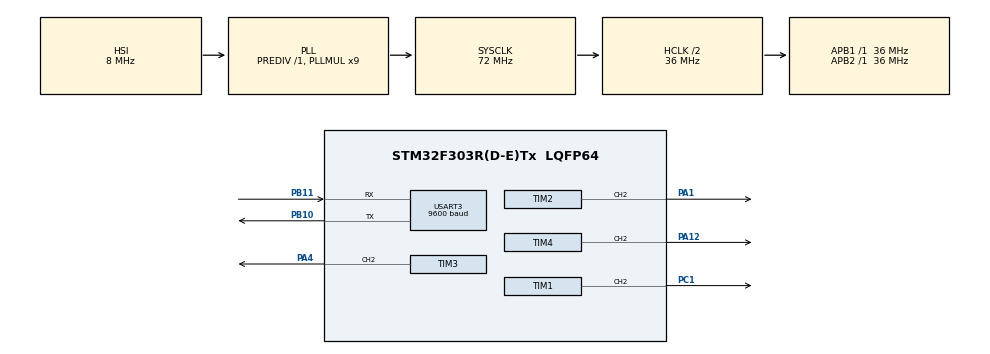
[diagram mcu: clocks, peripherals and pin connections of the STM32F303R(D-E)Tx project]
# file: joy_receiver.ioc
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Mcu.Family=STM32F3
Mcu.Name=STM32F303R(D-E)Tx
Mcu.Package=LQFP64
NVIC.PriorityGroup=NVIC_PRIORITYGROUP_4
NVIC.USART3_IRQn=true\:0\:0\:false\:false\:true\:true\:true
PA1.Signal=S_TIM2_CH2
PA12.Signal=S_TIM4_CH2
PA4.Signal=S_TIM3_CH2
PB10.Mode=Asynchronous
PB10.Signal=USART3_TX
PB11.Mode=Asynchronous
PB11.Signal=USART3_RX
PC1.Signal=S_TIM1_CH2
ProjectManager.HeapSize=0x200
ProjectManager.StackSize=0x400
ProjectManager.TargetToolchain=STM32CubeIDE
RCC.AHBCLKDivider=RCC_SYSCLK_DIV2
RCC.AHBFreq_Value=36000000
RCC.APB1Freq_Value=36000000
RCC.APB1TimFreq_Value=36000000
RCC.APB2Freq_Value=36000000
RCC.APB2TimFreq_Value=36000000
RCC.CortexFreq_Value=36000000
RCC.HCLKFreq_Value=36000000
RCC.HSE_VALUE=8000000
RCC.HSI_VALUE=8000000
RCC.LSE_VALUE=32768
RCC.PLLMUL=RCC_PLL_MUL9
RCC.SYSCLKFreq_VALUE=72000000
RCC.SYSCLKSourceVirtual=RCC_SYSCLKSOURCE_PLLCLK
RCC.USBFreq_Value=72000000
SH.S_TIM1_CH2.0=TIM1_CH2,PWM Generation2 CH2
SH.S_TIM2_CH2.0=TIM2_CH2,PWM Generation2 CH2
SH.S_TIM3_CH2.0=TIM3_CH2,PWM Generation2 CH2
SH.S_TIM4_CH2.0=TIM4_CH2,PWM Generation2 CH2
TIM1.Channel-PWM\ Generation2\ CH2=TIM_CHANNEL_2
TIM1.Period=19999
TIM1.Prescaler=35
TIM2.Channel-PWM\ Generation2\ CH2=TIM_CHANNEL_2
TIM2.Period=19999
TIM2.Prescaler=35
TIM3.Channel-PWM\ Generation2\ CH2=TIM_CHANNEL_2
TIM3.Period=19999
TIM3.Prescaler=35
TIM4.Channel-PWM\ Generation2\ CH2=TIM_CHANNEL_2
TIM4.Period=19999
TIM4.Prescaler=35
USART3.BaudRate=9600
USART3.VirtualMode-Asynchronous=VM_ASYNC
board=custom

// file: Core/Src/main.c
/* USER CODE BEGIN Header */
/**
  ******************************************************************************
  * @file           : main.c
  * @brief          : Main program body
  ******************************************************************************
  * @attention
  *
  * <h2><center>&copy; Copyright (c) 2022 STMicroelectronics.
  * All rights reserved.</center></h2>
  *
  * This software component is licensed by ST under BSD 3-Clause license,
  * the "License"; You may not use this file except in compliance with the
  * License. You may obtain a copy of the License at:
  *                        opensource.org/licenses/BSD-3-Clause
  *
  ******************************************************************************
  */
/* USER CODE END Header */
#include "main.h"

/* USER CODE BEGIN Includes */
#include "stdlib.h"
/* USER CODE END Includes */

/* USER CODE BEGIN PD */
#define ARRAY_LEN 4
#define PWM_LEN ARRAY_LEN*4
/* USER CODE END PD */

TIM_HandleTypeDef htim1;
TIM_HandleTypeDef htim2;
TIM_HandleTypeDef htim3;
TIM_HandleTypeDef htim4;

UART_HandleTypeDef huart3;

/* USER CODE BEGIN PV */
uint8_t incoming_byte[1];
char pwm_string[ARRAY_LEN*4];
uint8_t direction_array[ARRAY_LEN];
uint8_t pwm_array[ARRAY_LEN];
/* USER CODE END PV */

void SystemClock_Config(void);
static void MX_GPIO_Init(void);
static void MX_USART3_UART_Init(void);
static void MX_TIM2_Init(void);
static void MX_TIM1_Init(void);
static void MX_TIM3_Init(void);
static void MX_TIM4_Init(void);

/* USER CODE BEGIN 0 */

void readString(void){
	static int receive_counter=0;
	static int receive_flag=0;
	if(incoming_byte[0]=='S'){
		receive_flag=1;
	}
	if(receive_flag && incoming_byte[0]!='S' && incoming_byte[0]!='F'){
		pwm_string[receive_counter]=incoming_byte[0];
		receive_counter++;
	}
	if(incoming_byte[0]=='F'){
		receive_flag=0;
		receive_counter=0;
	}
}

void getDirection(void){
	for(int i=0;i<ARRAY_LEN;i++){
		direction_array[i]=pwm_string[4*i];
	}
}

void getPWM(void){
	char str_buffer[3];
	for(int i=0;i<ARRAY_LEN;i++){
		for(int j=0;j<3;j++){
			str_buffer[j]=pwm_string[(4*j)+1];
		}
		pwm_array[i]=atoi(str_buffer);
	}
}

void HAL_UART_RxCpltCallback(UART_HandleTypeDef *huart){
	if(huart->Instance==USART3){
		HAL_UART_Receive_IT(&huart3, (uint8_t*)incoming_byte, 1);
		readString();
	}
}

TIM_HandleTypeDef returnTimer(uint8_t timerNumber){
	TIM_HandleTypeDef myTimer;
	if(timerNumber==1){
		myTimer=htim1;
	}
	if(timerNumber==2){
			myTimer=htim2;
	}
	if(timerNumber==3){
		myTimer=htim3;
	}
	if(timerNumber==4){
		myTimer=htim4;
	}
	return myTimer;
}

void runMotor(TIM_HandleTypeDef myTimer, uint8_t direction, uint8_t pwmPulse){
	if(direction==0){
		__HAL_TIM_SET_COMPARE(&myTimer, TIM_CHANNEL_2, (1500-(500*pwmPulse/255)));
	}
	if(direction==1){
		__HAL_TIM_SET_COMPARE(&myTimer, TIM_CHANNEL_2, (1500+(500*pwmPulse/255)));
	}
}

/* USER CODE END 0 */

int main(void)
{

  /* MCU Configuration--------------------------------------------------------*/

  /* Reset of all peripherals, Initializes the Flash interface and the Systick. */
  HAL_Init();

  /* Configure the system clock */
  SystemClock_Config();

  /* Initialize all configured peripherals */
  MX_GPIO_Init();
  MX_USART3_UART_Init();
  MX_TIM2_Init();
  MX_TIM1_Init();
  MX_TIM3_Init();
  MX_TIM4_Init();
  /* USER CODE BEGIN 2 */
  HAL_UART_Receive_IT(&huart3, (uint8_t*)incoming_byte, 1);

  HAL_TIM_PWM_Start(&htim1, TIM_CHANNEL_2);
  HAL_TIM_PWM_Start(&htim2, TIM_CHANNEL_2);
  HAL_TIM_PWM_Start(&htim3, TIM_CHANNEL_2);
  HAL_TIM_PWM_Start(&htim4, TIM_CHANNEL_2);

  /* USER CODE END 2 */

  /* Infinite loop */
  while (1)
  {

    /* USER CODE BEGIN 3 */
	getDirection();
	getPWM();

	for(int i=0;i<ARRAY_LEN;i++){
		runMotor(returnTimer(i+1), direction_array[i], pwm_array[i]);
	}

  	}
  /* USER CODE END 3 */
}

void SystemClock_Config(void)
{
  RCC_OscInitTypeDef RCC_OscInitStruct = {0};
  RCC_ClkInitTypeDef RCC_ClkInitStruct = {0};
  RCC_PeriphCLKInitTypeDef PeriphClkInit = {0};

  /** Initializes the RCC Oscillators according to the specified parameters
  * in the RCC_OscInitTypeDef structure.
  */
  RCC_OscInitStruct.OscillatorType = RCC_OSCILLATORTYPE_HSI;
  RCC_OscInitStruct.HSIState = RCC_HSI_ON;
  RCC_OscInitStruct.HSICalibrationValue = RCC_HSICALIBRATION_DEFAULT;
  RCC_OscInitStruct.PLL.PLLState = RCC_PLL_ON;
  RCC_OscInitStruct.PLL.PLLSource = RCC_PLLSOURCE_HSI;
  RCC_OscInitStruct.PLL.PLLMUL = RCC_PLL_MUL9;
  RCC_OscInitStruct.PLL.PREDIV = RCC_PREDIV_DIV1;
  if (HAL_RCC_OscConfig(&RCC_OscInitStruct) != HAL_OK)
  {
    Error_Handler();
  }
  /** Initializes the CPU, AHB and APB buses clocks
  */
  RCC_ClkInitStruct.ClockType = RCC_CLOCKTYPE_HCLK|RCC_CLOCKTYPE_SYSCLK
                              |RCC_CLOCKTYPE_PCLK1|RCC_CLOCKTYPE_PCLK2;
  RCC_ClkInitStruct.SYSCLKSource = RCC_SYSCLKSOURCE_PLLCLK;
  RCC_ClkInitStruct.AHBCLKDivider = RCC_SYSCLK_DIV2;
  RCC_ClkInitStruct.APB1CLKDivider = RCC_HCLK_DIV1;
  RCC_ClkInitStruct.APB2CLKDivider = RCC_HCLK_DIV1;

  if (HAL_RCC_ClockConfig(&RCC_ClkInitStruct, FLASH_LATENCY_1) != HAL_OK)
  {
    Error_Handler();
  }
  PeriphClkInit.PeriphClockSelection = RCC_PERIPHCLK_USART3|RCC_PERIPHCLK_TIM1
                              |RCC_PERIPHCLK_TIM2|RCC_PERIPHCLK_TIM34;
  PeriphClkInit.Usart3ClockSelection = RCC_USART3CLKSOURCE_PCLK1;
  PeriphClkInit.Tim1ClockSelection = RCC_TIM1CLK_HCLK;
  PeriphClkInit.Tim2ClockSelection = RCC_TIM2CLK_HCLK;
  PeriphClkInit.Tim34ClockSelection = RCC_TIM34CLK_HCLK;
  if (HAL_RCCEx_PeriphCLKConfig(&PeriphClkInit) != HAL_OK)
  {
    Error_Handler();
  }
}

static void MX_TIM1_Init(void)
{

  TIM_MasterConfigTypeDef sMasterConfig = {0};
  TIM_OC_InitTypeDef sConfigOC = {0};
  TIM_BreakDeadTimeConfigTypeDef sBreakDeadTimeConfig = {0};

  htim1.Instance = TIM1;
  htim1.Init.Prescaler = 35;
  htim1.Init.CounterMode = TIM_COUNTERMODE_UP;
  htim1.Init.Period = 19999;
  htim1.Init.ClockDivision = TIM_CLOCKDIVISION_DIV1;
  htim1.Init.RepetitionCounter = 0;
  htim1.Init.AutoReloadPreload = TIM_AUTORELOAD_PRELOAD_DISABLE;
  if (HAL_TIM_PWM_Init(&htim1) != HAL_OK)
  {
    Error_Handler();
  }
  sMasterConfig.MasterOutputTrigger = TIM_TRGO_RESET;
  sMasterConfig.MasterOutputTrigger2 = TIM_TRGO2_RESET;
  sMasterConfig.MasterSlaveMode = TIM_MASTERSLAVEMODE_DISABLE;
  if (HAL_TIMEx_MasterConfigSynchronization(&htim1, &sMasterConfig) != HAL_OK)
  {
    Error_Handler();
  }
  sConfigOC.OCMode = TIM_OCMODE_PWM1;
  sConfigOC.Pulse = 0;
  sConfigOC.OCPolarity = TIM_OCPOLARITY_HIGH;
  sConfigOC.OCNPolarity = TIM_OCNPOLARITY_HIGH;
  sConfigOC.OCFastMode = TIM_OCFAST_DISABLE;
  sConfigOC.OCIdleState = TIM_OCIDLESTATE_RESET;
  sConfigOC.OCNIdleState = TIM_OCNIDLESTATE_RESET;
  if (HAL_TIM_PWM_ConfigChannel(&htim1, &sConfigOC, TIM_CHANNEL_2) != HAL_OK)
  {
    Error_Handler();
  }
  sBreakDeadTimeConfig.OffStateRunMode = TIM_OSSR_DISABLE;
  sBreakDeadTimeConfig.OffStateIDLEMode = TIM_OSSI_DISABLE;
  sBreakDeadTimeConfig.LockLevel = TIM_LOCKLEVEL_OFF;
  sBreakDeadTimeConfig.DeadTime = 0;
  sBreakDeadTimeConfig.BreakState = TIM_BREAK_DISABLE;
  sBreakDeadTimeConfig.BreakPolarity = TIM_BREAKPOLARITY_HIGH;
  sBreakDeadTimeConfig.BreakFilter = 0;
  sBreakDeadTimeConfig.Break2State = TIM_BREAK2_DISABLE;
  sBreakDeadTimeConfig.Break2Polarity = TIM_BREAK2POLARITY_HIGH;
  sBreakDeadTimeConfig.Break2Filter = 0;
  sBreakDeadTimeConfig.AutomaticOutput = TIM_AUTOMATICOUTPUT_DISABLE;
  if (HAL_TIMEx_ConfigBreakDeadTime(&htim1, &sBreakDeadTimeConfig) != HAL_OK)
  {
    Error_Handler();
  }
  HAL_TIM_MspPostInit(&htim1);

}

static void MX_TIM2_Init(void)
{

  TIM_MasterConfigTypeDef sMasterConfig = {0};
  TIM_OC_InitTypeDef sConfigOC = {0};

  htim2.Instance = TIM2;
  htim2.Init.Prescaler = 35;
  htim2.Init.CounterMode = TIM_COUNTERMODE_UP;
  htim2.Init.Period = 19999;
  htim2.Init.ClockDivision = TIM_CLOCKDIVISION_DIV1;
  htim2.Init.AutoReloadPreload = TIM_AUTORELOAD_PRELOAD_DISABLE;
  if (HAL_TIM_PWM_Init(&htim2) != HAL_OK)
  {
    Error_Handler();
  }
  sMasterConfig.MasterOutputTrigger = TIM_TRGO_RESET;
  sMasterConfig.MasterSlaveMode = TIM_MASTERSLAVEMODE_DISABLE;
  if (HAL_TIMEx_MasterConfigSynchronization(&htim2, &sMasterConfig) != HAL_OK)
  {
    Error_Handler();
  }
  sConfigOC.OCMode = TIM_OCMODE_PWM1;
  sConfigOC.Pulse = 0;
  sConfigOC.OCPolarity = TIM_OCPOLARITY_HIGH;
  sConfigOC.OCFastMode = TIM_OCFAST_DISABLE;
  if (HAL_TIM_PWM_ConfigChannel(&htim2, &sConfigOC, TIM_CHANNEL_2) != HAL_OK)
  {
    Error_Handler();
  }
  HAL_TIM_MspPostInit(&htim2);

}

static void MX_TIM3_Init(void)
{

  TIM_MasterConfigTypeDef sMasterConfig = {0};
  TIM_OC_InitTypeDef sConfigOC = {0};

  htim3.Instance = TIM3;
  htim3.Init.Prescaler = 35;
  htim3.Init.CounterMode = TIM_COUNTERMODE_UP;
  htim3.Init.Period = 19999;
  htim3.Init.ClockDivision = TIM_CLOCKDIVISION_DIV1;
  htim3.Init.AutoReloadPreload = TIM_AUTORELOAD_PRELOAD_DISABLE;
  if (HAL_TIM_PWM_Init(&htim3) != HAL_OK)
  {
    Error_Handler();
  }
  sMasterConfig.MasterOutputTrigger = TIM_TRGO_RESET;
  sMasterConfig.MasterSlaveMode = TIM_MASTERSLAVEMODE_DISABLE;
  if (HAL_TIMEx_MasterConfigSynchronization(&htim3, &sMasterConfig) != HAL_OK)
  {
    Error_Handler();
  }
  sConfigOC.OCMode = TIM_OCMODE_PWM1;
  sConfigOC.Pulse = 0;
  sConfigOC.OCPolarity = TIM_OCPOLARITY_HIGH;
  sConfigOC.OCFastMode = TIM_OCFAST_DISABLE;
  if (HAL_TIM_PWM_ConfigChannel(&htim3, &sConfigOC, TIM_CHANNEL_2) != HAL_OK)
  {
    Error_Handler();
  }
  HAL_TIM_MspPostInit(&htim3);

}

static void MX_TIM4_Init(void)
{

  TIM_MasterConfigTypeDef sMasterConfig = {0};
  TIM_OC_InitTypeDef sConfigOC = {0};

  htim4.Instance = TIM4;
  htim4.Init.Prescaler = 35;
  htim4.Init.CounterMode = TIM_COUNTERMODE_UP;
  htim4.Init.Period = 19999;
  htim4.Init.ClockDivision = TIM_CLOCKDIVISION_DIV1;
  htim4.Init.AutoReloadPreload = TIM_AUTORELOAD_PRELOAD_DISABLE;
  if (HAL_TIM_PWM_Init(&htim4) != HAL_OK)
  {
    Error_Handler();
  }
  sMasterConfig.MasterOutputTrigger = TIM_TRGO_RESET;
  sMasterConfig.MasterSlaveMode = TIM_MASTERSLAVEMODE_DISABLE;
  if (HAL_TIMEx_MasterConfigSynchronization(&htim4, &sMasterConfig) != HAL_OK)
  {
    Error_Handler();
  }
  sConfigOC.OCMode = TIM_OCMODE_PWM1;
  sConfigOC.Pulse = 0;
  sConfigOC.OCPolarity = TIM_OCPOLARITY_HIGH;
  sConfigOC.OCFastMode = TIM_OCFAST_DISABLE;
  if (HAL_TIM_PWM_ConfigChannel(&htim4, &sConfigOC, TIM_CHANNEL_2) != HAL_OK)
  {
    Error_Handler();
  }
  HAL_TIM_MspPostInit(&htim4);

}

static void MX_USART3_UART_Init(void)
{

  huart3.Instance = USART3;
  huart3.Init.BaudRate = 9600;
  huart3.Init.WordLength = UART_WORDLENGTH_8B;
  huart3.Init.StopBits = UART_STOPBITS_1;
  huart3.Init.Parity = UART_PARITY_NONE;
  huart3.Init.Mode = UART_MODE_TX_RX;
  huart3.Init.HwFlowCtl = UART_HWCONTROL_NONE;
  huart3.Init.OverSampling = UART_OVERSAMPLING_16;
  huart3.Init.OneBitSampling = UART_ONE_BIT_SAMPLE_DISABLE;
  huart3.AdvancedInit.AdvFeatureInit = UART_ADVFEATURE_NO_INIT;
  if (HAL_UART_Init(&huart3) != HAL_OK)
  {
    Error_Handler();
  }

}

static void MX_GPIO_Init(void)
{

  /* GPIO Ports Clock Enable */
  __HAL_RCC_GPIOC_CLK_ENABLE();
  __HAL_RCC_GPIOA_CLK_ENABLE();
  __HAL_RCC_GPIOB_CLK_ENABLE();

}

void Error_Handler(void)
{
  __disable_irq();
  while (1)
  {
  }
}

/************************ (C) COPYRIGHT STMicroelectronics *****END OF FILE****/
